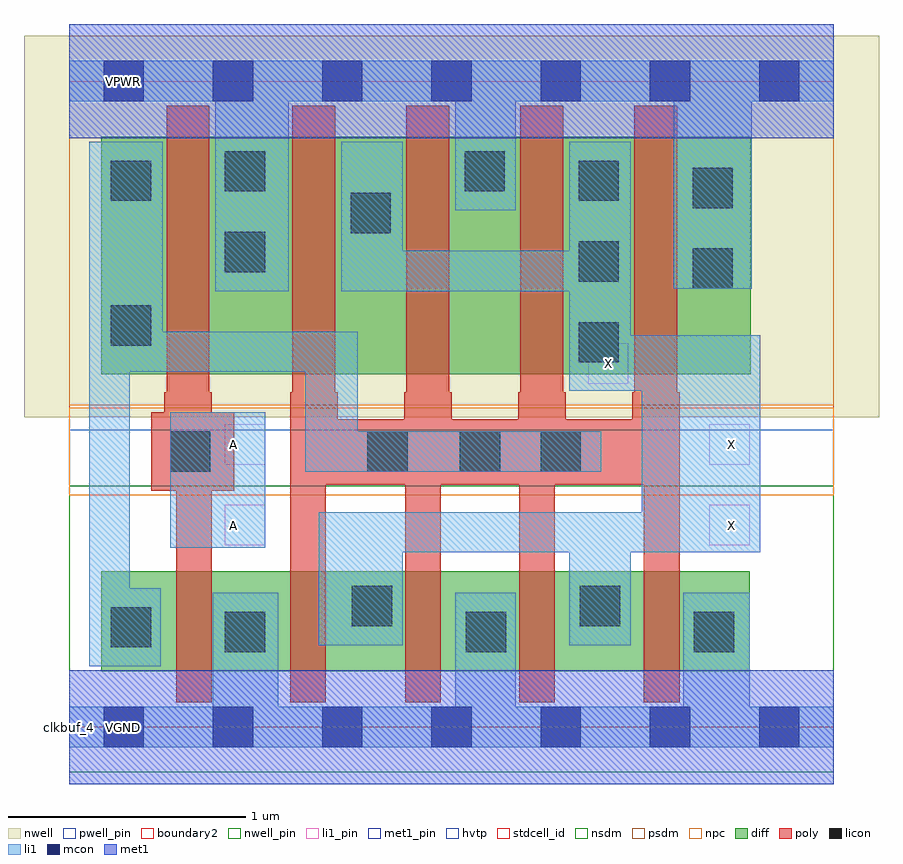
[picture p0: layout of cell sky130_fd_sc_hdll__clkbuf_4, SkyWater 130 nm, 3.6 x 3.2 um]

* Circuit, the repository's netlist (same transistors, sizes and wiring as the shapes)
* Copyright 2020 The SkyWater PDK Authors
*
* Licensed under the Apache License, Version 2.0 (the "License");
* you may not use this file except in compliance with the License.
* You may obtain a copy of the License at
*
*     https://www.apache.org/licenses/LICENSE-2.0
*
* Unless required by applicable law or agreed to in writing, software
* distributed under the License is distributed on an "AS IS" BASIS,
* WITHOUT WARRANTIES OR CONDITIONS OF ANY KIND, either express or implied.
* See the License for the specific language governing permissions and
* limitations under the License.
*
* SPDX-License-Identifier: Apache-2.0

.SUBCKT sky130_fd_sc_hdll__clkbuf_4 A VGND VNB VPB VPWR X
*.PININFO A:I VGND:I VNB:I VPB:I VPWR:I X:O
MMIN0 Ab A VGND VNB sky130_fd_pr__nfet_01v8 m=1 w=0.42U l=0.15U mult=1 sa=0.265
+ sb=0.265 sd=0.28 area=0.063 perim=1.14
MMIN1 X Ab VGND VNB sky130_fd_pr__nfet_01v8 m=4 w=0.42U l=0.15U mult=1 sa=0.265
+ sb=0.265 sd=0.28 area=0.063 perim=1.14
MMIP0 Ab A VPWR VPB sky130_fd_pr__pfet_01v8_hvt m=1 w=1.0U l=0.18U mult=1 sa=0.265
+ sb=0.265 sd=0.28 area=0.063 perim=1.14
MMIP1 X Ab VPWR VPB sky130_fd_pr__pfet_01v8_hvt m=4 w=1.0U l=0.18U mult=1 sa=0.265
+ sb=0.265 sd=0.28 area=0.063 perim=1.14
.ENDS sky130_fd_sc_hdll__clkbuf_4

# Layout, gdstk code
import gdstk
lib = gdstk.Library(unit=1e-6, precision=1e-09)
def R(c, l, rs):  # rectangles x0, y0, x1, y1
    for r in rs: c.add(gdstk.rectangle(r[:2], r[2:], *l))
def A(c, l, x, y, w, h, nx, ny, dx, dy):  # array of equal rectangles
    R(c, l, [(x+i*dx, y+j*dy, x+i*dx+w, y+j*dy+h) for i in range(nx) for j in range(ny)])
def P(c, l, *ps):  # polygons
    for p in ps: c.add(gdstk.Polygon(p, *l))
nwell_pin = (64, 16)
nwell = (64, 20)
diff = (65, 20)
poly = (66, 20)
licon = (66, 44)
li1_pin = (67, 16)
li1 = (67, 20)
mcon = (67, 44)
met1_pin = (68, 16)
met1 = (68, 20)
hvtp = (78, 44)
stdcell_id = (81, 4)
nsdm = (93, 44)
psdm = (94, 20)
npc = (95, 20)
pwell_pin = (122, 16)
boundary2 = (236, 0)

sky130_fd_sc_hdll__clkbu = lib.new_cell('sky130_fd_sc_hdll__clkbuf_4')
R(sky130_fd_sc_hdll__clkbu, nwell_pin, [(0.145,2.635,0.315,2.805)])
R(sky130_fd_sc_hdll__clkbu, nwell, [(-0.19,1.305,3.41,2.91)])
R(sky130_fd_sc_hdll__clkbu, diff, [(0.135,0.235,2.865,0.655), (0.135,1.485,2.87,2.485)])
P(sky130_fd_sc_hdll__clkbu, poly, [(0.695,1.325),(0.6,1.325),(0.6,1.41),(0.59,1.41),(0.59,2.615),(0.41,2.615),(0.41,1.41),(0.4,1.41),(0.4,1.325),(0.345,1.325),(0.345,0.995),(0.45,0.995),(0.45,0.105),(0.6,0.105),(0.6,0.995),(0.695,0.995)],
  [(2.57,1.41),(2.56,1.41),(2.56,2.615),(2.38,2.615),(2.38,1.41),(2.37,1.41),(2.37,1.295),(2.09,1.295),(2.09,1.41),(2.08,1.41),(2.08,2.615),(1.9,2.615),(1.9,1.41),(1.89,1.41),(1.89,1.295),(1.61,1.295),(1.61,1.41),(1.6,1.41),(1.6,2.615),(1.42,2.615),(1.42,1.41),(1.41,1.41),(1.41,1.295),(1.13,1.295),(1.13,1.41),(1.12,1.41),(1.12,2.615),(0.94,2.615),(0.94,1.41),(0.93,1.41),(0.93,0.105),(1.08,0.105),(1.08,1.02),(1.415,1.02),(1.415,0.105),(1.565,0.105),(1.565,1.02),(1.895,1.02),(1.895,0.105),(2.045,0.105),(2.045,1.02),(2.42,1.02),(2.42,0.105),(2.57,0.105)])
A(sky130_fd_sc_hdll__clkbu, licon, 2.145, 1.535, 0.17, 0.17, 1, 3, 0, 0.34)
R(sky130_fd_sc_hdll__clkbu, licon, [(0.655,0.315,0.825,0.485), (1.67,0.315,1.84,0.485), (2.63,0.315,2.8,0.485), (0.175,0.335,0.345,0.505), (1.19,0.425,1.36,0.595), (2.15,0.425,2.32,0.595), (0.425,1.075,0.595,1.245), (1.255,1.075,1.425,1.245), (1.645,1.075,1.815,1.245), (1.985,1.075,2.155,1.245), (0.175,1.605,0.345,1.775), (2.625,1.845,2.795,2.015), (0.655,1.915,0.825,2.085), (1.185,2.08,1.355,2.25), (2.625,2.185,2.795,2.355), (0.175,2.215,0.345,2.385), (0.655,2.255,0.825,2.425), (1.665,2.255,1.835,2.425)])
R(sky130_fd_sc_hdll__clkbu, li1_pin, [(0.655,0.765,0.825,0.935), (2.695,0.765,2.865,0.935), (0.655,1.105,0.825,1.275), (2.695,1.105,2.865,1.275), (2.185,1.445,2.355,1.615)])
R(sky130_fd_sc_hdll__clkbu, li1, [(0.425,0.755,0.825,1.325)])
P(sky130_fd_sc_hdll__clkbu, li1, [(3.22,0.085),(2.865,0.085),(2.865,0.565),(2.585,0.565),(2.585,0.085),(1.88,0.085),(1.88,0.565),(1.625,0.565),(1.625,0.085),(0.88,0.085),(0.88,0.565),(0.605,0.565),(0.605,0.085),(0,0.085),(0,-0.085),(3.22,-0.085)],
  [(2.91,1.65),(2.365,1.65),(2.365,2.465),(2.105,2.465),(2.105,2.005),(1.405,2.005),(1.405,2.465),(1.145,2.465),(1.145,1.835),(2.105,1.835),(2.105,1.415),(2.41,1.415),(2.41,0.905),(1.05,0.905),(1.05,0.345),(1.405,0.345),(1.405,0.735),(2.105,0.735),(2.105,0.345),(2.365,0.345),(2.365,0.735),(2.91,0.735)],
  [(2.24,1.245),(1.215,1.245),(1.215,1.665),(0.395,1.665),(0.395,2.465),(0.085,2.465),(0.085,0.255),(0.385,0.255),(0.385,0.585),(0.255,0.585),(0.255,1.495),(0.995,1.495),(0.995,1.075),(2.24,1.075)],
  [(3.22,2.805),(0,2.805),(0,2.635),(0.615,2.635),(0.615,1.835),(0.925,1.835),(0.925,2.635),(1.625,2.635),(1.625,2.175),(1.88,2.175),(1.88,2.635),(2.545,2.635),(2.545,1.845),(2.875,1.845),(2.875,2.635),(3.22,2.635)])
A(sky130_fd_sc_hdll__clkbu, mcon, 0.145, -0.085, 0.17, 0.17, 7, 2, 0.46, 2.72)
R(sky130_fd_sc_hdll__clkbu, met1_pin, [(0.145,-0.085,0.315,0.085), (0.145,2.635,0.315,2.805)])
R(sky130_fd_sc_hdll__clkbu, met1, [(0,-0.24,3.22,0.24), (0,2.48,3.22,2.96)])
R(sky130_fd_sc_hdll__clkbu, hvtp, [(0,1.25,3.22,2.72)])
R(sky130_fd_sc_hdll__clkbu, stdcell_id, [(0,0,3.22,2.72)])
R(sky130_fd_sc_hdll__clkbu, nsdm, [(0,-0.19,3.22,1.015)])
R(sky130_fd_sc_hdll__clkbu, psdm, [(0,1.355,3.22,2.91)])
R(sky130_fd_sc_hdll__clkbu, npc, [(0,0.975,3.22,1.345)])
R(sky130_fd_sc_hdll__clkbu, pwell_pin, [(0.145,-0.085,0.315,0.085)])
R(sky130_fd_sc_hdll__clkbu, boundary2, [(0,0,3.22,2.72)])
sky130_fd_sc_hdll__clkbu.add(gdstk.Label('X', (2.27,1.53), layer=67, texttype=5))
sky130_fd_sc_hdll__clkbu.add(gdstk.Label('A', (0.69,0.85), layer=67, texttype=5))
sky130_fd_sc_hdll__clkbu.add(gdstk.Label('X', (2.79,0.85), layer=67, texttype=5))
sky130_fd_sc_hdll__clkbu.add(gdstk.Label('A', (0.69,1.19), layer=67, texttype=5))
sky130_fd_sc_hdll__clkbu.add(gdstk.Label('X', (2.79,1.19), layer=67, texttype=5))
sky130_fd_sc_hdll__clkbu.add(gdstk.Label('VGND', (0.23,0), layer=68, texttype=5))
sky130_fd_sc_hdll__clkbu.add(gdstk.Label('VPWR', (0.23,2.72), layer=68, texttype=5))
sky130_fd_sc_hdll__clkbu.add(gdstk.Label('VPB', (0.23,2.72), layer=64, texttype=5))
sky130_fd_sc_hdll__clkbu.add(gdstk.Label('VNB', (0.23,0), layer=64, texttype=59))
sky130_fd_sc_hdll__clkbu.add(gdstk.Label('clkbuf_4', (0,0), layer=83, texttype=44))

lib.write_gds('sky130_fd_sc_hdll__clkbuf_4.gds')
